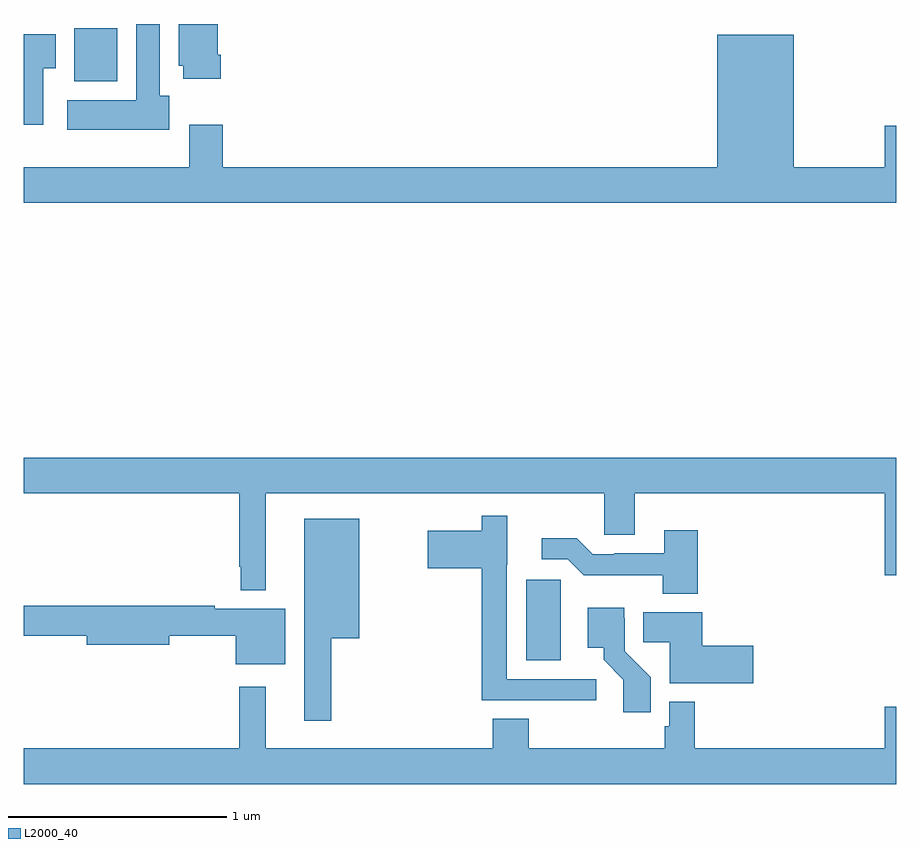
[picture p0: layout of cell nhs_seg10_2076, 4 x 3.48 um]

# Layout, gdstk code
import gdstk
lib = gdstk.Library(unit=1e-6, precision=1e-09)
def R(c, l, rs):  # rectangles x0, y0, x1, y1
    for r in rs: c.add(gdstk.rectangle(r[:2], r[2:], *l))
def P(c, l, *ps):  # polygons
    for p in ps: c.add(gdstk.Polygon(p, *l))
L2000_40 = (2000, 40)

nhs_seg10_2076 = lib.new_cell('nhs_seg10_2076')
R(nhs_seg10_2076, L2000_40, [(223.304,1267.584,223.462,1267.953), (221.231,1270.238,221.428,1270.48)])
P(nhs_seg10_2076, L2000_40, [(221.668,1270.17),(221.623,1270.17),(221.623,1270.5),(221.516,1270.5),(221.516,1270.15),(221.199,1270.15),(221.199,1270.016),(221.668,1270.016)],
  [(221.903,1270.36),(221.89,1270.36),(221.89,1270.5),(221.711,1270.5),(221.711,1270.308),(221.732,1270.308),(221.732,1270.248),(221.903,1270.248)],
  [(221.089,1270.297),(221.146,1270.297),(221.146,1270.453),(221,1270.453),(221,1270.038),(221.089,1270.038)],
  [(225,1270.033),(224.948,1270.033),(224.948,1269.844),(224.53,1269.844),(224.53,1270.45),(224.18,1270.45),(224.18,1269.844),(221.912,1269.844),(221.912,1270.039),(221.759,1270.039),(221.759,1269.844),(221,1269.844),(221,1269.68),(225,1269.68)],
  [(222.109,1268.348),(223.662,1268.348),(223.662,1268.158),(223.801,1268.158),(223.801,1268.348),(224.948,1268.348),(224.948,1267.974),(225,1267.974),(225,1268.512),(221,1268.512),(221,1268.348),(221.988,1268.348),(221.988,1268.011),(221.994,1268.011),(221.994,1267.904),(222.109,1267.904)],
  [(223.624,1267.497),(223.215,1267.497),(223.215,1268.022),(223.216,1268.022),(223.216,1268.245),(223.099,1268.245),(223.099,1268.176),(222.852,1268.176),(222.852,1268.006),(223.099,1268.006),(223.099,1267.401),(223.399,1267.401),(223.399,1267.399),(223.624,1267.399)],
  [(222.409,1267.685),(222.538,1267.685),(222.538,1268.233),(222.287,1268.233),(222.287,1267.305),(222.409,1267.305)],
  [(224.09,1268.179),(223.937,1268.179),(223.937,1268.073),(223.708,1268.073),(223.708,1268.07),(223.608,1268.07),(223.535,1268.143),(223.374,1268.143),(223.374,1268.046),(223.494,1268.046),(223.567,1267.974),(223.93,1267.974),(223.93,1267.889),(224.09,1267.889)],
  [(222.199,1267.819),(221.876,1267.819),(221.876,1267.832),(221,1267.832),(221,1267.696),(221.288,1267.696),(221.288,1267.654),(221.668,1267.654),(221.668,1267.696),(221.972,1267.696),(221.972,1267.565),(222.199,1267.565)],
  [(223.874,1267.506),(223.755,1267.625),(223.755,1267.776),(223.753,1267.776),(223.753,1267.825),(223.586,1267.825),(223.586,1267.64),(223.658,1267.64),(223.658,1267.585),(223.749,1267.495),(223.749,1267.344),(223.874,1267.344)],
  [(224.344,1267.649),(224.111,1267.649),(224.111,1267.804),(223.84,1267.804),(223.84,1267.666),(223.961,1267.666),(223.961,1267.478),(224.344,1267.478)],
  [(225,1267.369),(224.948,1267.369),(224.948,1267.18),(224.075,1267.18),(224.075,1267.393),(223.959,1267.393),(223.959,1267.281),(223.939,1267.281),(223.939,1267.18),(223.316,1267.18),(223.316,1267.316),(223.151,1267.316),(223.151,1267.18),(222.109,1267.18),(222.109,1267.462),(221.988,1267.462),(221.988,1267.18),(221,1267.18),(221,1267.016),(225,1267.016)])

lib.write_gds('nhs_seg10_2076.gds')
